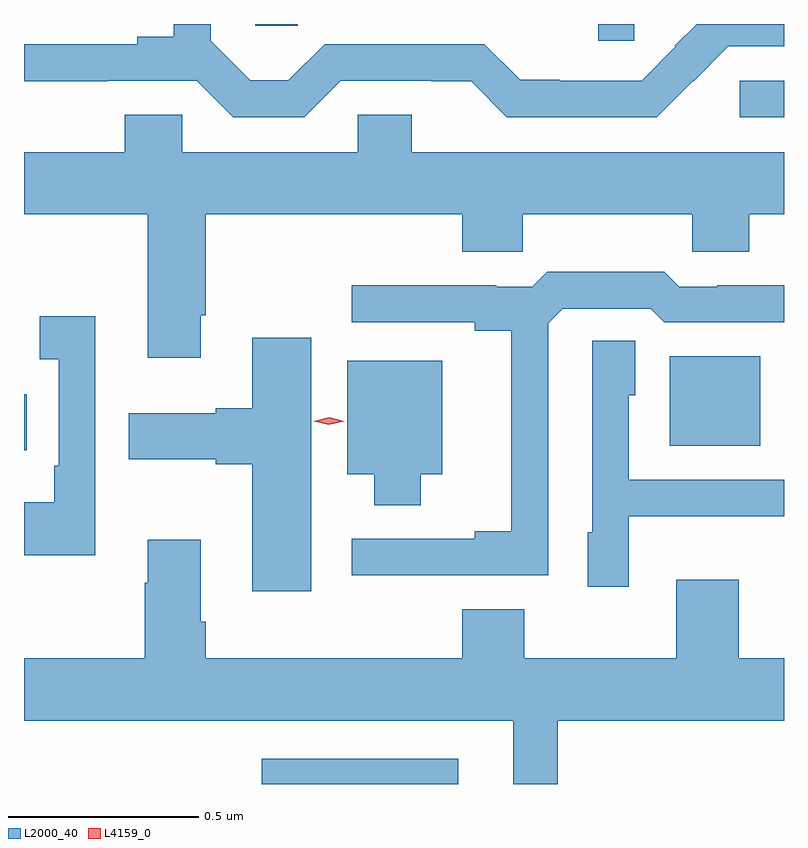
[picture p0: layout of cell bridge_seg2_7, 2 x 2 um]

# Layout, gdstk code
import gdstk
lib = gdstk.Library(unit=1e-6, precision=1e-09)
def R(c, l, rs):  # rectangles x0, y0, x1, y1
    for r in rs: c.add(gdstk.rectangle(r[:2], r[2:], *l))
def P(c, l, *ps):  # polygons
    for p in ps: c.add(gdstk.Polygon(p, *l))
L2000_40 = (2000, 40)
L4159_0 = (4159, 0)

bridge_seg2_7 = lib.new_cell('bridge_seg2_7')
R(bridge_seg2_7, L2000_40, [(790.062,614.169,790.579,614.236), (789.436,615.047,789.443,615.195), (791.135,615.059,791.374,615.295), (791.319,615.924,791.436,616.02), (790.947,616.125,791.042,616.169), (790.044,616.165,790.156,616.169)])
P(bridge_seg2_7, L2000_40, [(790.269,616.02),(790.508,616.02),(790.508,616.019),(790.613,616.019),(790.707,615.924),(791.101,615.924),(791.197,616.02),(791.198,616.019),(791.289,616.11),(791.436,616.11),(791.436,616.169),(791.206,616.169),(791.149,616.112),(791.151,616.11),(791.061,616.02),(790.846,616.02),(790.846,616.022),(790.742,616.022),(790.647,616.116),(790.227,616.116),(790.132,616.021),(790.031,616.021),(789.927,616.125),(789.927,616.169),(789.83,616.169),(789.83,616.136),(789.734,616.136),(789.734,616.116),(789.436,616.116),(789.436,616.019),(789.657,616.019),(789.657,616.02),(789.89,616.02),(789.986,615.924),(790.173,615.924)],
  [(789.901,615.403),(789.914,615.403),(789.914,615.668),(790.589,615.668),(790.589,615.57),(790.749,615.57),(790.749,615.668),(791.194,615.668),(791.194,615.57),(791.344,615.57),(791.344,615.668),(791.436,615.668),(791.436,615.832),(790.456,615.832),(790.456,615.93),(790.314,615.93),(790.314,615.832),(789.852,615.832),(789.852,615.93),(789.701,615.93),(789.701,615.832),(789.436,615.832),(789.436,615.668),(789.761,615.668),(789.761,615.291),(789.901,615.291)],
  [(790.815,615.381),(790.854,615.42),(791.085,615.42),(791.121,615.384),(791.436,615.384),(791.436,615.482),(791.26,615.482),(791.26,615.477),(791.16,615.477),(791.121,615.517),(790.813,615.517),(790.773,615.477),(790.679,615.477),(790.679,615.482),(790.299,615.482),(790.299,615.384),(790.622,615.384),(790.622,615.362),(790.718,615.362),(790.718,614.834),(790.622,614.834),(790.622,614.814),(790.299,614.814),(790.299,614.718),(790.815,614.718)],
  [(789.624,615.4),(789.477,615.4),(789.477,615.287),(789.528,615.287),(789.528,615.007),(789.516,615.007),(789.516,614.911),(789.436,614.911),(789.436,614.771),(789.624,614.771)],
  [(790.192,615.343),(790.037,615.343),(790.037,615.158),(789.941,615.158),(789.941,615.145),(789.711,615.145),(789.711,615.023),(789.941,615.023),(789.941,615.011),(790.037,615.011),(790.037,614.676),(790.192,614.676)],
  [(791.028,614.873),(791.345,614.873),(791.345,614.874),(791.436,614.874),(791.436,614.97),(791.028,614.97),(791.028,615.192),(791.044,615.192),(791.044,615.335),(790.932,615.335),(790.932,614.832),(790.919,614.832),(790.919,614.688),(791.028,614.688)],
  [(790.48,614.984),(790.537,614.984),(790.537,615.283),(790.286,615.283),(790.286,614.984),(790.358,614.984),(790.358,614.903),(790.48,614.903)],
  [(790.841,614.336),(791.436,614.336),(791.436,614.5),(791.317,614.5),(791.317,614.707),(791.153,614.707),(791.153,614.5),(790.753,614.5),(790.753,614.629),(790.589,614.629),(790.589,614.5),(789.914,614.5),(789.914,614.596),(789.901,614.596),(789.901,614.812),(789.761,614.812),(789.761,614.699),(789.754,614.699),(789.754,614.5),(789.436,614.5),(789.436,614.336),(790.724,614.336),(790.724,614.169),(790.841,614.169)])
P(bridge_seg2_7, L4159_0, [(790.238,615.114),(790.198,615.124),(790.198,615.124),(790.198,615.124),(790.239,615.134),(790.279,615.123),(790.279,615.123),(790.279,615.123)])

lib.write_gds('bridge_seg2_7.gds')
